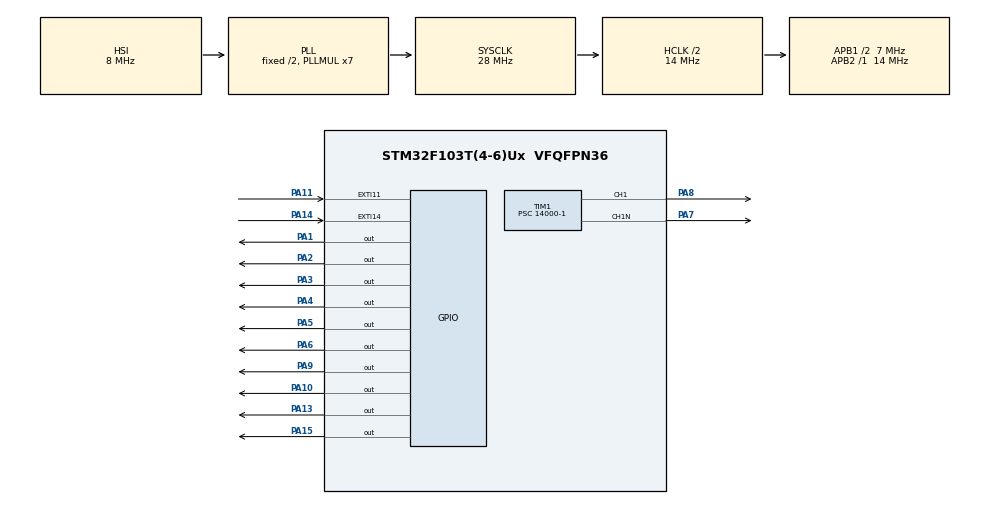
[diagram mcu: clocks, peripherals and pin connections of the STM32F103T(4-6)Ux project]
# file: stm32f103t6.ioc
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Mcu.Family=STM32F1
Mcu.Name=STM32F103T(4-6)Ux
Mcu.Package=VFQFPN36
NVIC.EXTI15_10_IRQn=true\:0\:0\:false\:false\:true\:true\:true\:true
NVIC.PriorityGroup=NVIC_PRIORITYGROUP_4
NVIC.TIM2_IRQn=true\:0\:0\:false\:false\:true\:true\:true\:true
PA1.PinState=GPIO_PIN_SET
PA1.Signal=GPIO_Output
PA10.PinState=GPIO_PIN_SET
PA10.Signal=GPIO_Output
PA11.GPIO_ModeDefaultEXTI=GPIO_MODE_IT_RISING_FALLING
PA11.Signal=GPXTI11
PA13.PinState=GPIO_PIN_SET
PA13.Signal=GPIO_Output
PA14.GPIO_ModeDefaultEXTI=GPIO_MODE_IT_RISING_FALLING
PA14.Signal=GPXTI14
PA15.PinState=GPIO_PIN_SET
PA15.Signal=GPIO_Output
PA2.PinState=GPIO_PIN_SET
PA2.Signal=GPIO_Output
PA3.PinState=GPIO_PIN_SET
PA3.Signal=GPIO_Output
PA4.PinState=GPIO_PIN_SET
PA4.Signal=GPIO_Output
PA5.PinState=GPIO_PIN_SET
PA5.Signal=GPIO_Output
PA6.PinState=GPIO_PIN_SET
PA6.Signal=GPIO_Output
PA7.Mode=PWM Generation1 CH1 CH1N
PA7.Signal=TIM1_CH1N
PA8.Signal=S_TIM1_CH1
PA9.PinState=GPIO_PIN_SET
PA9.Signal=GPIO_Output
ProjectManager.HeapSize=0x200
ProjectManager.StackSize=0x400
ProjectManager.TargetToolchain=STM32CubeIDE
RCC.AHBCLKDivider=RCC_SYSCLK_DIV2
RCC.AHBFreq_Value=14000000
RCC.APB1CLKDivider=RCC_HCLK_DIV2
RCC.APB1Freq_Value=7000000
RCC.APB1TimFreq_Value=14000000
RCC.APB2Freq_Value=14000000
RCC.APB2TimFreq_Value=14000000
RCC.HCLKFreq_Value=14000000
RCC.PLLMUL=RCC_PLL_MUL7
RCC.SYSCLKFreq_VALUE=28000000
RCC.SYSCLKSource=RCC_SYSCLKSOURCE_PLLCLK
RCC.USBFreq_Value=28000000
SH.S_TIM1_CH1.0=TIM1_CH1,PWM Generation1 CH1 CH1N
TIM1.Channel-PWM\ Generation1\ CH1\ CH1N=TIM_CHANNEL_1
TIM1.OCNPolarity_1=TIM_OCNPOLARITY_HIGH
TIM1.Period=700-1
TIM1.Prescaler=14000-1
TIM1.Pulse-PWM\ Generation1\ CH1\ CH1N=350-1
TIM2.Period=700-1
TIM2.Prescaler=14000-1
VP_SYS_VS_ND.Mode=No_Debug
VP_TIM1_VS_ClockSourceINT.Mode=Internal
VP_TIM2_VS_ClockSourceINT.Mode=Internal
board=custom

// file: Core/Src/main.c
/* USER CODE BEGIN Header */
/**
  ******************************************************************************
  * @file           : main.c
  * @brief          : Main program body
  ******************************************************************************
  * @attention
  *
  * Copyright (c) 2024 STMicroelectronics.
  * All rights reserved.
  *
  * This software is licensed under terms that can be found in the LICENSE file
  * in the root directory of this software component.
  * If no LICENSE file comes with this software, it is provided AS-IS.
  *
  ******************************************************************************
  */
/* USER CODE END Header */
#include "main.h"

TIM_HandleTypeDef htim1;
TIM_HandleTypeDef htim2;

void SystemClock_Config(void);
static void MX_GPIO_Init(void);
static void MX_TIM2_Init(void);
static void MX_TIM1_Init(void);

int main(void)
{

  /* MCU Configuration--------------------------------------------------------*/

  /* Reset of all peripherals, Initializes the Flash interface and the Systick. */
  HAL_Init();

  /* Configure the system clock */
  SystemClock_Config();

  /* Initialize all configured peripherals */
  MX_GPIO_Init();
  MX_TIM2_Init();
  MX_TIM1_Init();
  /* USER CODE BEGIN 2 */
  HAL_GPIO_WritePin(GPIOA, GPIO_PIN_1|GPIO_PIN_2|GPIO_PIN_3
                            |GPIO_PIN_4|GPIO_PIN_5|GPIO_PIN_6|GPIO_PIN_9|
							GPIO_PIN_10|GPIO_PIN_15|GPIO_PIN_13, GPIO_PIN_RESET);

  HAL_TIM_Base_Start_IT(&htim2);
  HAL_TIM_PWM_Start(&htim1, TIM_CHANNEL_1);
  HAL_TIMEx_PWMN_Start(&htim1, TIM_CHANNEL_1);
  /* USER CODE END 2 */

  /* Infinite loop */
  /* USER CODE BEGIN WHILE */
  while (1)
  {

//	  HAL_GPIO_WritePin(GPIOA, GPIO_PIN_0, HAL_GPIO_ReadPin(GPIOA, GPIO_PIN_4));
    /* USER CODE END WHILE */

  }
}

void SystemClock_Config(void)
{
  RCC_OscInitTypeDef RCC_OscInitStruct = {0};
  RCC_ClkInitTypeDef RCC_ClkInitStruct = {0};

  /** Initializes the RCC Oscillators according to the specified parameters
  * in the RCC_OscInitTypeDef structure.
  */
  RCC_OscInitStruct.OscillatorType = RCC_OSCILLATORTYPE_HSI;
  RCC_OscInitStruct.HSIState = RCC_HSI_ON;
  RCC_OscInitStruct.HSICalibrationValue = RCC_HSICALIBRATION_DEFAULT;
  RCC_OscInitStruct.PLL.PLLState = RCC_PLL_ON;
  RCC_OscInitStruct.PLL.PLLSource = RCC_PLLSOURCE_HSI_DIV2;
  RCC_OscInitStruct.PLL.PLLMUL = RCC_PLL_MUL7;
  if (HAL_RCC_OscConfig(&RCC_OscInitStruct) != HAL_OK)
  {
    Error_Handler();
  }

  /** Initializes the CPU, AHB and APB buses clocks
  */
  RCC_ClkInitStruct.ClockType = RCC_CLOCKTYPE_HCLK|RCC_CLOCKTYPE_SYSCLK
                              |RCC_CLOCKTYPE_PCLK1|RCC_CLOCKTYPE_PCLK2;
  RCC_ClkInitStruct.SYSCLKSource = RCC_SYSCLKSOURCE_PLLCLK;
  RCC_ClkInitStruct.AHBCLKDivider = RCC_SYSCLK_DIV2;
  RCC_ClkInitStruct.APB1CLKDivider = RCC_HCLK_DIV2;
  RCC_ClkInitStruct.APB2CLKDivider = RCC_HCLK_DIV1;

  if (HAL_RCC_ClockConfig(&RCC_ClkInitStruct, FLASH_LATENCY_1) != HAL_OK)
  {
    Error_Handler();
  }
}

static void MX_TIM1_Init(void)
{

  TIM_ClockConfigTypeDef sClockSourceConfig = {0};
  TIM_MasterConfigTypeDef sMasterConfig = {0};
  TIM_OC_InitTypeDef sConfigOC = {0};
  TIM_BreakDeadTimeConfigTypeDef sBreakDeadTimeConfig = {0};

  htim1.Instance = TIM1;
  htim1.Init.Prescaler = 14000-1;
  htim1.Init.CounterMode = TIM_COUNTERMODE_UP;
  htim1.Init.Period = 700-1;
  htim1.Init.ClockDivision = TIM_CLOCKDIVISION_DIV1;
  htim1.Init.RepetitionCounter = 0;
  htim1.Init.AutoReloadPreload = TIM_AUTORELOAD_PRELOAD_DISABLE;
  if (HAL_TIM_Base_Init(&htim1) != HAL_OK)
  {
    Error_Handler();
  }
  sClockSourceConfig.ClockSource = TIM_CLOCKSOURCE_INTERNAL;
  if (HAL_TIM_ConfigClockSource(&htim1, &sClockSourceConfig) != HAL_OK)
  {
    Error_Handler();
  }
  if (HAL_TIM_PWM_Init(&htim1) != HAL_OK)
  {
    Error_Handler();
  }
  sMasterConfig.MasterOutputTrigger = TIM_TRGO_RESET;
  sMasterConfig.MasterSlaveMode = TIM_MASTERSLAVEMODE_DISABLE;
  if (HAL_TIMEx_MasterConfigSynchronization(&htim1, &sMasterConfig) != HAL_OK)
  {
    Error_Handler();
  }
  sConfigOC.OCMode = TIM_OCMODE_PWM1;
  sConfigOC.Pulse = 350-1;
  sConfigOC.OCPolarity = TIM_OCPOLARITY_HIGH;
  sConfigOC.OCNPolarity = TIM_OCNPOLARITY_HIGH;
  sConfigOC.OCFastMode = TIM_OCFAST_DISABLE;
  sConfigOC.OCIdleState = TIM_OCIDLESTATE_RESET;
  sConfigOC.OCNIdleState = TIM_OCNIDLESTATE_RESET;
  if (HAL_TIM_PWM_ConfigChannel(&htim1, &sConfigOC, TIM_CHANNEL_1) != HAL_OK)
  {
    Error_Handler();
  }
  sBreakDeadTimeConfig.OffStateRunMode = TIM_OSSR_DISABLE;
  sBreakDeadTimeConfig.OffStateIDLEMode = TIM_OSSI_DISABLE;
  sBreakDeadTimeConfig.LockLevel = TIM_LOCKLEVEL_OFF;
  sBreakDeadTimeConfig.DeadTime = 0;
  sBreakDeadTimeConfig.BreakState = TIM_BREAK_DISABLE;
  sBreakDeadTimeConfig.BreakPolarity = TIM_BREAKPOLARITY_HIGH;
  sBreakDeadTimeConfig.AutomaticOutput = TIM_AUTOMATICOUTPUT_DISABLE;
  if (HAL_TIMEx_ConfigBreakDeadTime(&htim1, &sBreakDeadTimeConfig) != HAL_OK)
  {
    Error_Handler();
  }
  HAL_TIM_MspPostInit(&htim1);

}

static void MX_TIM2_Init(void)
{

  TIM_ClockConfigTypeDef sClockSourceConfig = {0};
  TIM_MasterConfigTypeDef sMasterConfig = {0};

  htim2.Instance = TIM2;
  htim2.Init.Prescaler = 14000-1;
  htim2.Init.CounterMode = TIM_COUNTERMODE_UP;
  htim2.Init.Period = 700-1;
  htim2.Init.ClockDivision = TIM_CLOCKDIVISION_DIV1;
  htim2.Init.AutoReloadPreload = TIM_AUTORELOAD_PRELOAD_DISABLE;
  if (HAL_TIM_Base_Init(&htim2) != HAL_OK)
  {
    Error_Handler();
  }
  sClockSourceConfig.ClockSource = TIM_CLOCKSOURCE_INTERNAL;
  if (HAL_TIM_ConfigClockSource(&htim2, &sClockSourceConfig) != HAL_OK)
  {
    Error_Handler();
  }
  sMasterConfig.MasterOutputTrigger = TIM_TRGO_RESET;
  sMasterConfig.MasterSlaveMode = TIM_MASTERSLAVEMODE_DISABLE;
  if (HAL_TIMEx_MasterConfigSynchronization(&htim2, &sMasterConfig) != HAL_OK)
  {
    Error_Handler();
  }

}

static void MX_GPIO_Init(void)
{
  GPIO_InitTypeDef GPIO_InitStruct = {0};

  /* GPIO Ports Clock Enable */
  __HAL_RCC_GPIOA_CLK_ENABLE();

  /*Configure GPIO pin Output Level */
  HAL_GPIO_WritePin(GPIOA, GPIO_PIN_1|GPIO_PIN_2|GPIO_PIN_3|GPIO_PIN_4
                          |GPIO_PIN_5|GPIO_PIN_6|GPIO_PIN_9|GPIO_PIN_10
                          |GPIO_PIN_13|GPIO_PIN_15, GPIO_PIN_SET);

  /*Configure GPIO pins : PA1 PA2 PA3 PA4
                           PA5 PA6 PA9 PA10
                           PA13 PA15 */
  GPIO_InitStruct.Pin = GPIO_PIN_1|GPIO_PIN_2|GPIO_PIN_3|GPIO_PIN_4
                          |GPIO_PIN_5|GPIO_PIN_6|GPIO_PIN_9|GPIO_PIN_10
                          |GPIO_PIN_13|GPIO_PIN_15;
  GPIO_InitStruct.Mode = GPIO_MODE_OUTPUT_PP;
  GPIO_InitStruct.Pull = GPIO_NOPULL;
  GPIO_InitStruct.Speed = GPIO_SPEED_FREQ_LOW;
  HAL_GPIO_Init(GPIOA, &GPIO_InitStruct);

  /*Configure GPIO pins : PA11 PA14 */
  GPIO_InitStruct.Pin = GPIO_PIN_11|GPIO_PIN_14;
  GPIO_InitStruct.Mode = GPIO_MODE_IT_RISING_FALLING;
  GPIO_InitStruct.Pull = GPIO_NOPULL;
  HAL_GPIO_Init(GPIOA, &GPIO_InitStruct);

  /* EXTI interrupt init*/
  HAL_NVIC_SetPriority(EXTI15_10_IRQn, 0, 0);
  HAL_NVIC_EnableIRQ(EXTI15_10_IRQn);

}

/* USER CODE BEGIN 4 */
void HAL_GPIO_EXTI_Callback(uint16_t GPIO_Pin) {
    if (GPIO_Pin == GPIO_PIN_14) {
        uint16_t pins[] = {GPIO_PIN_1, GPIO_PIN_2, GPIO_PIN_3, GPIO_PIN_4, GPIO_PIN_5};
        uint8_t numPins = sizeof(pins) / sizeof(pins[0]);

        for (uint8_t i = 0; i < numPins; i++) {
            HAL_GPIO_TogglePin(GPIOA, pins[i]);
        }
    } else if (GPIO_Pin == GPIO_PIN_11) {
        uint16_t pins[] = {GPIO_PIN_6, GPIO_PIN_9, GPIO_PIN_10, GPIO_PIN_15, GPIO_PIN_13};
        uint8_t numPins = sizeof(pins) / sizeof(pins[0]);

        for (uint8_t i = 0; i < numPins; i++) {
            HAL_GPIO_TogglePin(GPIOA, pins[i]);
        }
    }
}

void HAL_TIM_PeriodElapsedCallback(TIM_HandleTypeDef *htim)
{
  if (htim->Instance == TIM1 || htim->Instance == TIM2)
  {
    HAL_GPIO_TogglePin(GPIOA, GPIO_PIN_1|GPIO_PIN_2|GPIO_PIN_3
            |GPIO_PIN_4|GPIO_PIN_5|GPIO_PIN_6|GPIO_PIN_9|
			GPIO_PIN_10|GPIO_PIN_15|GPIO_PIN_13);
  }
}

/* USER CODE END 4 */

void Error_Handler(void)
{
  __disable_irq();
  while (1)
  {
  }
}
